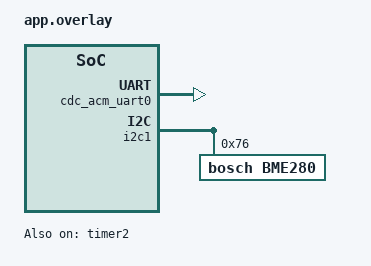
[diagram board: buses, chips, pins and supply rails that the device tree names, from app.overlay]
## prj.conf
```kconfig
#
# Copyright (c) 2022 Nordic Semiconductor ASA
#
# SPDX-License-Identifier: LicenseRef-Nordic-5-Clause
#

# Debug configuration


CONFIG_ZIGBEE_CHANNEL=11

# Logging
CONFIG_LOG=y
CONFIG_SERIAL=y
CONFIG_CONSOLE=y
CONFIG_UART_CONSOLE=y
CONFIG_UART_LINE_CTRL=y
#CONFIG_ZIGBEE_WEATHER_STATION_LOG_LEVEL_INF=y

# USB
CONFIG_USB_DEVICE_INITIALIZE_AT_BOOT=n
CONFIG_USB_DEVICE_PRODUCT="Dongle: Zigbee Weather Station"
CONFIG_USB_DEVICE_PID=0x0004
#CONFIG_USB_CDC_ACM_LOG_LEVEL_OFF=y
CONFIG_USB_DEVICE_STACK=y
# CONFIG_USB_CDC_ACM=y

# Sensors
CONFIG_I2C=y
CONFIG_SENSOR=y
CONFIG_BME280=y

# Development Kit LED and Buttons library
CONFIG_DK_LIBRARY=y

# Zigbee
CONFIG_ZIGBEE=y
CONFIG_ZIGBEE_APP_UTILS=y
CONFIG_ZIGBEE_ROLE_END_DEVICE=y

# Enable crypto for zigbee
CONFIG_CRYPTO=y
CONFIG_CRYPTO_NRF_ECB=y
CONFIG_CRYPTO_INIT_PRIORITY=80

# Use software cryptography on nRF5340
# CONFIG_ZIGBEE_USE_SOFTWARE_AES=n

# Enable API for powering down unused RAM parts
CONFIG_RAM_POWER_DOWN_LIBRARY=y

# Networking
CONFIG_NET_IPV6=n
CONFIG_NET_IP_ADDR_CHECK=n
CONFIG_NET_UDP=n

# Troubleshooting
CONFIG_ZBOSS_HALT_ON_ASSERT=y
CONFIG_RESET_ON_FATAL_ERROR=n

# CONFIG_LOG_BACKEND_UART=y
# This example requires more workqueue stack
CONFIG_SYSTEM_WORKQUEUE_STACK_SIZE=2048
#CONFIG_HEAP_MEM_POOL_SIZE=2048
#CONFIG_MAIN_THREAD_PRIORITY=7
#CONFIG_DEBUG_OPTIMIZATIONS=n
#CONFIG_DEBUG_THREAD_INFO=n

# CONFIG_ZIGBEE_UART_SUPPORTS_FLOW_CONTROL=y
# CONFIG_ZIGBEE_HAVE_SERIAL=y
# CONFIG_ZIGBEE_HAVE_ASYNC_SERIAL=y
# CONFIG_ZIGBEE_UART_RX_BUF_LEN=256
# CONFIG_ZIGBEE_UART_TX_TIMEOUT=1000
# CONFIG_ZIGBEE_UART_RX_TIMEOUT=1000
# CONFIG_NCS_SAMPLES_DEFAULTS=y
```

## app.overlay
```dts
/*
 * Copyright (c) 2022 Nordic Semiconductor ASA
 *
 * SPDX-License-Identifier: LicenseRef-Nordic-5-Clause
 */

/ {
	chosen {
		ncs,zigbee-timer = &timer2;
		zephyr,console = &cdc_acm_uart0; // &uart0;
		// ncs,zigbee-uart = &cdc_acm_uart0;
		zephyr,entropy = &rng;
	};
};

&zephyr_udc0 {
	cdc_acm_uart0: cdc_acm_uart0 {
		compatible = "zephyr,cdc-acm-uart";
	};
};

&pinctrl {
	uart0_default: uart0_default {
		group1 {
			psels = <NRF_PSEL(UART_TX, 0, 13)>,
				<NRF_PSEL(UART_RTS, 0, 17)>;
		};
		group2 {
			psels = <NRF_PSEL(UART_RX, 0, 15)>,
				<NRF_PSEL(UART_CTS, 0, 22)>;
			bias-pull-up;
		};
	};

	uart0_sleep: uart0_sleep {
		group1 {
			psels = <NRF_PSEL(UART_TX, 0, 13)>,
				<NRF_PSEL(UART_RX, 0, 15)>,
				<NRF_PSEL(UART_RTS, 0, 17)>,
				<NRF_PSEL(UART_CTS, 0, 22)>;
			low-power-enable;
		};
	};


	i2c1_default: i2c1_default {
		group1 {
			psels = <NRF_PSEL(TWIM_SDA, 0, 29)>,
				<NRF_PSEL(TWIM_SCL, 0, 31)>;
		};
	};

	i2c1_sleep: i2c1_sleep {
		group1 {
			psels = <NRF_PSEL(TWIM_SDA, 0, 29)>,
				<NRF_PSEL(TWIM_SCL, 0, 31)>;
			low-power-enable;
		};
	};
};

&i2c1 {
	status = "okay";

	bme280@76 {
		compatible = "bosch,bme280";
		reg = <0x76>;
		status = "okay";
	};
};

&timer2 {
	status = "okay";
};

/* Disable unused peripherals to reduce power consumption */
&pwm0 {
	status = "disabled";
};
&pwm1 {
	status = "disabled";
};
```

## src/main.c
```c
/*
 * Copyright (c) 2022 Nordic Semiconductor ASA
 *
 * SPDX-License-Identifier: LicenseRef-Nordic-5-Clause
 */

#include <zephyr/device.h>
#include <dk_buttons_and_leds.h>
#include <zephyr/drivers/uart.h>
#include <zephyr/logging/log.h>
#include <ram_pwrdn.h>
#include <zb_nrf_platform.h>
#include <zboss_api.h>
#include <zboss_api_addons.h>
#include <zephyr/kernel.h>
#include <zigbee/zigbee_app_utils.h>
#include <zigbee/zigbee_error_handler.h>

#ifdef CONFIG_USB_DEVICE_STACK
#include <zephyr/usb/usb_device.h>
#include <zephyr/usb/usbd.h>
#include <zephyr/sys/printk.h>
#endif /* CONFIG_USB_DEVICE_STACK */

#include "weather_station.h"

/* Delay for console initialization */
#define WAIT_FOR_CONSOLE_MSEC 100
#define WAIT_FOR_CONSOLE_DEADLINE_MSEC 500

/* Weather check period */
#define WEATHER_CHECK_PERIOD_MSEC (1000 * CONFIG_WEATHER_CHECK_PERIOD_SECONDS)

/* Delay for first weather check */
#define WEATHER_CHECK_INITIAL_DELAY_MSEC (1000 * CONFIG_FIRST_WEATHER_CHECK_DELAY_SECONDS)

/* Time of LED on state while blinking for identify mode */
#define IDENTIFY_LED_BLINK_TIME_MSEC 500

#define LED_POWER DK_LED1
/* In Thingy53 each LED is a RGB component of a single LED */
#define LED_RED DK_LED2
#define LED_GREEN DK_LED3
#define LED_BLUE DK_LED4

/* LED indicating that device successfully joined Zigbee network */
#define ZIGBEE_NETWORK_STATE_LED LED_BLUE

/* LED used for device identification */
#define IDENTIFY_LED LED_RED

/* Button used to enter the Identify mode */
#define IDENTIFY_MODE_BUTTON DK_BTN1_MSK

/* Button to start Factory Reset */
#define FACTORY_RESET_BUTTON IDENTIFY_MODE_BUTTON

BUILD_ASSERT(DT_NODE_HAS_COMPAT(DT_CHOSEN(zephyr_console),
				zephyr_cdc_acm_uart),
	     "Console device is not ACM CDC UART device");
LOG_MODULE_REGISTER(app, LOG_LEVEL_DBG);// CONFIG_ZIGBEE_WEATHER_STATION_LOG_LEVEL);

/* Stores all cluster-related attributes */
static struct zb_device_ctx dev_ctx;

/* Attributes setup */
ZB_ZCL_DECLARE_BASIC_ATTRIB_LIST_EXT(
	basic_attr_list,
	&dev_ctx.basic_attr.zcl_version,
	&dev_ctx.basic_attr.app_version,
	&dev_ctx.basic_attr.stack_version,
	&dev_ctx.basic_attr.hw_version,
	dev_ctx.basic_attr.mf_name,
	dev_ctx.basic_attr.model_id,
	dev_ctx.basic_attr.date_code,
	&dev_ctx.basic_attr.power_source,
	dev_ctx.basic_attr.location_id,
	&dev_ctx.basic_attr.ph_env,
	dev_ctx.basic_attr.sw_ver);

/* Declare attribute list for Identify cluster (client). */
ZB_ZCL_DECLARE_IDENTIFY_CLIENT_ATTRIB_LIST(
	identify_client_attr_list);

/* Declare attribute list for Identify cluster (server). */
ZB_ZCL_DECLARE_IDENTIFY_SERVER_ATTRIB_LIST(
	identify_server_attr_list,
	&dev_ctx.identify_attr.identify_time);

ZB_ZCL_DECLARE_TEMP_MEASUREMENT_ATTRIB_LIST(
	temperature_measurement_attr_list,
	&dev_ctx.temp_attrs.measure_value,
	&dev_ctx.temp_attrs.min_measure_value,
	&dev_ctx.temp_attrs.max_measure_value,
	&dev_ctx.temp_attrs.tolerance
	);

ZB_ZCL_DECLARE_PRESSURE_MEASUREMENT_ATTRIB_LIST(
	pressure_measurement_attr_list,
	&dev_ctx.pres_attrs.measure_value,
	&dev_ctx.pres_attrs.min_measure_value,
	&dev_ctx.pres_attrs.max_measure_value,
	&dev_ctx.pres_attrs.tolerance
	);

ZB_ZCL_DECLARE_REL_HUMIDITY_MEASUREMENT_ATTRIB_LIST(
	humidity_measurement_attr_list,
	&dev_ctx.humidity_attrs.measure_value,
	&dev_ctx.humidity_attrs.min_measure_value,
	&dev_ctx.humidity_attrs.max_measure_value
	);

/* On/Off cluster attributes additions data */
ZB_ZCL_DECLARE_ON_OFF_ATTRIB_LIST(
	on_off_attr_list,
	&dev_ctx.on_off_attr.on_off);

/* Clusters setup */
ZB_HA_DECLARE_WEATHER_STATION_CLUSTER_LIST(
	weather_station_cluster_list,
	basic_attr_list,
	identify_client_attr_list,
	identify_server_attr_list,
	temperature_measurement_attr_list,
	pressure_measurement_attr_list,
	humidity_measurement_attr_list,
	on_off_attr_list);

/* Endpoint setup (single) */
ZB_HA_DECLARE_WEATHER_STATION_EP(
	weather_station_ep,
	WEATHER_STATION_ENDPOINT_NB,
	weather_station_cluster_list);

/* Device context */
ZBOSS_DECLARE_DEVICE_CTX_1_EP(
	weather_station_ctx,
	weather_station_ep);


/* Manufacturer name (32 bytes). */
#define BULB_INIT_BASIC_MANUF_NAME      "FFenix113"

/* Model number assigned by manufacturer (32-bytes long string). */
#define BULB_INIT_BASIC_MODEL_ID        "dongle"

/* First 8 bytes specify the date of manufacturer of the device
 * in ISO 8601 format (YYYYMMDD). The rest (8 bytes) are manufacturer specific.
 */
#define BULB_INIT_BASIC_DATE_CODE       "20200329"

/* Describes the physical location of the device (16 bytes).
 * May be modified during commissioning process.
 */
#define BULB_INIT_BASIC_LOCATION_DESC   ""
/* Describes the type of physical environment.
 * For possible values see section 3.2.2.2.10 of ZCL specification.
 */
#define BULB_INIT_BASIC_PH_ENV          ZB_ZCL_BASIC_ENV_UNSPECIFIED

static void mandatory_clusters_attr_init(void)
{
	/* Basic cluster attributes */
	dev_ctx.basic_attr.zcl_version = ZB_ZCL_VERSION;
	dev_ctx.basic_attr.power_source = ZB_ZCL_BASIC_POWER_SOURCE_BATTERY;
	// Extended attributes
	dev_ctx.basic_attr.app_version = 01;
	dev_ctx.basic_attr.stack_version = 10;
	dev_ctx.basic_attr.hw_version = 11;

	/* Use ZB_ZCL_SET_STRING_VAL to set strings, because the first byte
	 * should contain string length without trailing zero.
	 *
	 * For example "test" string will be encoded as:
	 *   [(0x4), 't', 'e', 's', 't']
	 */
	ZB_ZCL_SET_STRING_VAL(
		dev_ctx.basic_attr.mf_name,
		BULB_INIT_BASIC_MANUF_NAME,
		ZB_ZCL_STRING_CONST_SIZE(BULB_INIT_BASIC_MANUF_NAME));

	ZB_ZCL_SET_STRING_VAL(
		dev_ctx.basic_attr.model_id,
		BULB_INIT_BASIC_MODEL_ID,
		ZB_ZCL_STRING_CONST_SIZE(BULB_INIT_BASIC_MODEL_ID));

	ZB_ZCL_SET_STRING_VAL(
		dev_ctx.basic_attr.date_code,
		BULB_INIT_BASIC_DATE_CODE,
		ZB_ZCL_STRING_CONST_SIZE(BULB_INIT_BASIC_DATE_CODE));

	ZB_ZCL_SET_STRING_VAL(
		dev_ctx.basic_attr.location_id,
		BULB_INIT_BASIC_LOCATION_DESC,
		ZB_ZCL_STRING_CONST_SIZE(BULB_INIT_BASIC_LOCATION_DESC));

	dev_ctx.basic_attr.ph_env = BULB_INIT_BASIC_PH_ENV;

	/* Identify cluster attributes data. */
	dev_ctx.identify_attr.identify_time =
		ZB_ZCL_IDENTIFY_IDENTIFY_TIME_DEFAULT_VALUE;

	/* Identify cluster attributes */
	dev_ctx.identify_attr.identify_time = ZB_ZCL_IDENTIFY_IDENTIFY_TIME_DEFAULT_VALUE;
}

static void measurements_clusters_attr_init(void)
{
	/* Temperature */
	dev_ctx.temp_attrs.measure_value = ZB_ZCL_ATTR_TEMP_MEASUREMENT_VALUE_UNKNOWN;
	dev_ctx.temp_attrs.min_measure_value = WEATHER_STATION_ATTR_TEMP_MIN;
	dev_ctx.temp_attrs.max_measure_value = WEATHER_STATION_ATTR_TEMP_MAX;
	dev_ctx.temp_attrs.tolerance = WEATHER_STATION_ATTR_TEMP_TOLERANCE;

	/* Pressure */
	dev_ctx.pres_attrs.measure_value = ZB_ZCL_ATTR_PRESSURE_MEASUREMENT_VALUE_UNKNOWN;
	dev_ctx.pres_attrs.min_measure_value = WEATHER_STATION_ATTR_PRESSURE_MIN;
	dev_ctx.pres_attrs.max_measure_value = WEATHER_STATION_ATTR_PRESSURE_MAX;
	dev_ctx.pres_attrs.tolerance = WEATHER_STATION_ATTR_PRESSURE_TOLERANCE;

	/* Humidity */
	dev_ctx.humidity_attrs.measure_value = ZB_ZCL_ATTR_REL_HUMIDITY_MEASUREMENT_VALUE_UNKNOWN;
	dev_ctx.humidity_attrs.min_measure_value = WEATHER_STATION_ATTR_HUMIDITY_MIN;
	dev_ctx.humidity_attrs.max_measure_value = WEATHER_STATION_ATTR_HUMIDITY_MAX;
	/* Humidity measurements tolerance is not supported at the moment */
}

static void toggle_identify_led(zb_bufid_t bufid)
{
	static bool led_on;

	led_on = !led_on;
	dk_set_led(IDENTIFY_LED, led_on);
	zb_ret_t err = ZB_SCHEDULE_APP_ALARM(toggle_identify_led,
					     bufid,
					     ZB_MILLISECONDS_TO_BEACON_INTERVAL(
						     IDENTIFY_LED_BLINK_TIME_MSEC));
	if (err) {
		LOG_ERR("Failed to schedule app alarm: %d", err);
	}
}

static void start_identifying(zb_bufid_t bufid)
{
	ZVUNUSED(bufid);

	if (ZB_JOINED()) {
		/*
		 * Check if endpoint is in identifying mode,
		 * if not put desired endpoint in identifying mode.
		 */
		if (dev_ctx.identify_attr.identify_time ==
		    ZB_ZCL_IDENTIFY_IDENTIFY_TIME_DEFAULT_VALUE) {

			zb_ret_t zb_err_code = zb_bdb_finding_binding_target(
				WEATHER_STATION_ENDPOINT_NB);

			if (zb_err_code == RET_OK) {
				dk_set_led_off(LED_POWER);
				dev_ctx.on_off_attr.on_off = 1;
				LOG_INF("Manually enter identify mode");
			} else if (zb_err_code == RET_INVALID_STATE) {
				LOG_WRN("RET_INVALID_STATE - Cannot enter identify mode");
			} else {
				ZB_ERROR_CHECK(zb_err_code);
			}
		} else {
			dk_set_led_on(LED_POWER);
			dev_ctx.on_off_attr.on_off = 0;
			LOG_INF("Manually cancel identify mode");
			zb_bdb_finding_binding_target_cancel();
		}
	} else {
		LOG_WRN("Device not in a network - cannot identify itself");
	}
}

static void identify_callback(zb_bufid_t bufid)
{
	zb_ret_t err = RET_OK;

	if (bufid) {
		/* Schedule a self-scheduling function that will toggle the LED */
		err = ZB_SCHEDULE_APP_CALLBACK(toggle_identify_led, bufid);
		if (err) {
			LOG_ERR("Failed to schedule app callback: %d", err);
		} else {
			LOG_INF("Enter identify mode");
		}
	} else {
		/* Cancel the toggling function alarm and turn off LED */
		err = ZB_SCHEDULE_APP_ALARM_CANCEL(toggle_identify_led,
						   ZB_ALARM_ANY_PARAM);
		if (err) {
			LOG_ERR("Failed to schedule app alarm cancel: %d", err);
		} else {
			dk_set_led_off(IDENTIFY_LED);
			LOG_INF("Cancel identify mode");
		}
	}
}

static void button_changed(uint32_t button_state, uint32_t has_changed)
{
	if (IDENTIFY_MODE_BUTTON & has_changed) {
		if (IDENTIFY_MODE_BUTTON & button_state) {
			/* Button changed its state to pressed */
		} else {
			/* Button changed its state to released */
			if (was_factory_reset_done()) {
				/* The long press was for Factory Reset */
				LOG_DBG("After Factory Reset - ignore button release");
			} else   {
				/* Button released before Factory Reset */

				/* Start identification mode */
				zb_ret_t err = ZB_SCHEDULE_APP_CALLBACK(start_identifying, 0);

				if (err) {
					LOG_ERR("Failed to schedule app callback: %d", err);
				}

				/* Inform default signal handler about user input at the device */
				user_input_indicate();
			}
		}
	}

	check_factory_reset_button(button_state, has_changed);
}

static void gpio_init(void)
{
	int err = dk_buttons_init(button_changed);

	if (err) {
		LOG_ERR("Cannot init buttons (err: %d)", err);
	}

	err = dk_leds_init();
	if (err) {
		LOG_ERR("Cannot init LEDs (err: %d)", err);
	}
}

#ifdef CONFIG_USB_DEVICE_STACK
static void wait_for_console(void)
{
	const struct device *console = DEVICE_DT_GET(DT_CHOSEN(zephyr_console));
	uint32_t dtr = 0;
	uint32_t time = 0;

	/* Enable the USB subsystem and associated HW */
	if (usb_enable(NULL)) {
		LOG_ERR("Failed to enable USB");
	} else {
		/* Wait for DTR flag or deadline (e.g. when USB is not connected) */
		while (!dtr && time < WAIT_FOR_CONSOLE_DEADLINE_MSEC) {
			uart_line_ctrl_get(console, UART_LINE_CTRL_DTR, &dtr);
			/* Give CPU resources to low priority threads */
			k_sleep(K_MSEC(WAIT_FOR_CONSOLE_MSEC));
			time += WAIT_FOR_CONSOLE_MSEC;
		}
		// while (!dtr) {
		// 	uart_line_ctrl_get(console, UART_LINE_CTRL_DTR, &dtr);
		// 	/* Give CPU resources to low priority threads. */
		// 	k_sleep(K_MSEC(500));
		// }
	}
}
#endif /* CONFIG_USB_DEVICE_STACK */

static void check_weather(zb_bufid_t bufid)
{
	ZVUNUSED(bufid);

	int err = weather_station_check_weather();

	if (err) {
		LOG_ERR("Failed to check weather: %d", err);
	} else {
		err = weather_station_update_temperature();
		if (err) {
			LOG_ERR("Failed to update temperature: %d", err);
		}

		err = weather_station_update_pressure();
		if (err) {
			LOG_ERR("Failed to update pressure: %d", err);
		}

		err = weather_station_update_humidity();
		if (err) {
			LOG_ERR("Failed to update humidity: %d", err);
		}
	}

	zb_ret_t zb_err = ZB_SCHEDULE_APP_ALARM(check_weather,
						0,
						ZB_MILLISECONDS_TO_BEACON_INTERVAL(
							WEATHER_CHECK_PERIOD_MSEC));
	if (zb_err) {
		LOG_ERR("Failed to schedule app alarm: %d", zb_err);
	}
}

/**@brief Callback function for handling ZCL commands.
 *
 * @param[in]   bufid   Reference to Zigbee stack buffer
 *                      used to pass received data.
 */
static void zcl_device_cb(zb_bufid_t bufid)
{
	zb_uint8_t cluster_id;
	zb_uint8_t attr_id;
	zb_zcl_device_callback_param_t  *device_cb_param =
		ZB_BUF_GET_PARAM(bufid, zb_zcl_device_callback_param_t);

	LOG_INF("%s id %hd", __func__, device_cb_param->device_cb_id);

	/* Set default response value. */
	device_cb_param->status = RET_OK;

	switch (device_cb_param->device_cb_id) {
	case ZB_ZCL_SET_ATTR_VALUE_CB_ID:
		cluster_id = device_cb_param->cb_param.
			     set_attr_value_param.cluster_id;
		attr_id = device_cb_param->cb_param.
			  set_attr_value_param.attr_id;

		if (cluster_id == ZB_ZCL_CLUSTER_ID_ON_OFF) {
			uint8_t value =
				device_cb_param->cb_param.set_attr_value_param
				.values.data8;

			LOG_INF("on/off attribute setting to %hd", value);
			if (attr_id == ZB_ZCL_ATTR_ON_OFF_ON_OFF_ID) {
				// on_off_set_value((zb_bool_t)value);
			}
		} else if (cluster_id == ZB_ZCL_CLUSTER_ID_LEVEL_CONTROL) {
		} else {
			/* Other clusters can be processed here */
			LOG_INF("Unhandled cluster attribute id: %d",
				cluster_id);
			device_cb_param->status = RET_NOT_IMPLEMENTED;
		}
		break;

	default:
		// if (zcl_scenes_cb(bufid) == ZB_FALSE) {
		// 	device_cb_param->status = RET_NOT_IMPLEMENTED;
		// }
		break;
	}

	LOG_INF("%s status: %hd", __func__, device_cb_param->status);
}

void zboss_signal_handler(zb_bufid_t bufid)
{
	zb_zdo_app_signal_hdr_t *signal_header = NULL;
	zb_zdo_app_signal_type_t signal = zb_get_app_signal(bufid, &signal_header);
	zb_ret_t err = RET_OK;

	/* Update network status LED but only for debug configuration */
	#ifdef CONFIG_LOG
	zigbee_led_status_update(bufid, ZIGBEE_NETWORK_STATE_LED);
	#endif /* CONFIG_LOG */

	/* Detect ZBOSS startup */
	switch (signal) {
	case ZB_ZDO_SIGNAL_SKIP_STARTUP:
		/* ZBOSS framework has started - schedule first weather check */
		err = ZB_SCHEDULE_APP_ALARM(check_weather,
					    0,
					    ZB_MILLISECONDS_TO_BEACON_INTERVAL(
						    WEATHER_CHECK_INITIAL_DELAY_MSEC));
		if (err) {
			LOG_ERR("Failed to schedule app alarm: %d", err);
		}
		break;
	default:
		break;
	}

	/* Let default signal handler process the signal*/
	ZB_ERROR_CHECK(zigbee_default_signal_handler(bufid));

	/*
	 * All callbacks should either reuse or free passed buffers.
	 * If bufid == 0, the buffer is invalid (not passed).
	 */
	if (bufid) {
		zb_buf_free(bufid);
	}
}

int main(void)
{
	#ifdef CONFIG_USB_DEVICE_STACK
	wait_for_console();
	#endif /* CONFIG_USB_DEVICE_STACK */

	LOG_INF("App init");

	register_factory_reset_button(FACTORY_RESET_BUTTON);
	gpio_init();
	weather_station_init();

	/* Register device context (endpoint) */
	ZB_AF_REGISTER_DEVICE_CTX(&weather_station_ctx);

	/* Register callback for handling ZCL commands. */
	ZB_ZCL_REGISTER_DEVICE_CB(zcl_device_cb);

	/* Init Basic and Identify attributes */
	mandatory_clusters_attr_init();

	/* Init measurements-related attributes */
	measurements_clusters_attr_init();

	/* Register callback to identify notifications */
	ZB_AF_SET_IDENTIFY_NOTIFICATION_HANDLER(WEATHER_STATION_ENDPOINT_NB, identify_callback);

	/* Enable Sleepy End Device behavior */
	zb_set_rx_on_when_idle(ZB_FALSE);
	if (IS_ENABLED(CONFIG_RAM_POWER_DOWN_LIBRARY)) {
		power_down_unused_ram();
	}

	/* Start Zigbee stack */
	zigbee_enable();

	dk_set_led_on(LED_POWER);

	return 0;
}
```

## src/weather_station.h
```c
/*
 * Copyright (c) 2022 Nordic Semiconductor ASA
 *
 * SPDX-License-Identifier: LicenseRef-Nordic-5-Clause
 */

#ifndef WEATHER_STATION_H
#define WEATHER_STATION_H

#include <zboss_api.h>
#include <zboss_api_addons.h>
#include <zcl/zb_zcl_temp_measurement_addons.h>

#include "sensor.h"

/* Zigbee Cluster Library 4.4.2.2.1.1: MeasuredValue = 100x temperature in degrees Celsius */
#define ZCL_TEMPERATURE_MEASUREMENT_MEASURED_VALUE_MULTIPLIER 100
/* Zigbee Cluster Library 4.5.2.2.1.1: MeasuredValue = 10x pressure in kPa */
#define ZCL_PRESSURE_MEASUREMENT_MEASURED_VALUE_MULTIPLIER 10
/* Zigbee Cluster Library 4.7.2.1.1: MeasuredValue = 100x water content in % */
#define ZCL_HUMIDITY_MEASUREMENT_MEASURED_VALUE_MULTIPLIER 100

/* Measurements ranges scaled for attribute values */
#define WEATHER_STATION_ATTR_TEMP_MIN (	  \
		SENSOR_TEMP_CELSIUS_MIN * \
		ZCL_TEMPERATURE_MEASUREMENT_MEASURED_VALUE_MULTIPLIER)
#define WEATHER_STATION_ATTR_TEMP_MAX (	  \
		SENSOR_TEMP_CELSIUS_MAX * \
		ZCL_TEMPERATURE_MEASUREMENT_MEASURED_VALUE_MULTIPLIER)
#define WEATHER_STATION_ATTR_TEMP_TOLERANCE (	\
		SENSOR_TEMP_CELSIUS_TOLERANCE *	\
		ZCL_TEMPERATURE_MEASUREMENT_MEASURED_VALUE_MULTIPLIER)
#define WEATHER_STATION_ATTR_PRESSURE_MIN ( \
		SENSOR_PRESSURE_KPA_MIN *   \
		ZCL_PRESSURE_MEASUREMENT_MEASURED_VALUE_MULTIPLIER)
#define WEATHER_STATION_ATTR_PRESSURE_MAX ( \
		SENSOR_PRESSURE_KPA_MAX *   \
		ZCL_PRESSURE_MEASUREMENT_MEASURED_VALUE_MULTIPLIER)
#define WEATHER_STATION_ATTR_PRESSURE_TOLERANCE ( \
		SENSOR_PRESSURE_KPA_TOLERANCE *	  \
		ZCL_PRESSURE_MEASUREMENT_MEASURED_VALUE_MULTIPLIER)
#define WEATHER_STATION_ATTR_HUMIDITY_MIN (   \
		SENSOR_HUMIDITY_PERCENT_MIN * \
		ZCL_HUMIDITY_MEASUREMENT_MEASURED_VALUE_MULTIPLIER)
#define WEATHER_STATION_ATTR_HUMIDITY_MAX (   \
		SENSOR_HUMIDITY_PERCENT_MAX * \
		ZCL_HUMIDITY_MEASUREMENT_MEASURED_VALUE_MULTIPLIER)
#define WEATHER_STATION_ATTR_HUMIDITY_TOLERANCE (   \
		SENSOR_HUMIDITY_PERCENT_TOLERANCE * \
		ZCL_HUMIDITY_MEASUREMENT_MEASURED_VALUE_MULTIPLIER)

/* Number chosen for the single endpoint provided by weather station */
#define WEATHER_STATION_ENDPOINT_NB 42

/* Temperature sensor device version */
#define ZB_HA_DEVICE_VER_TEMPERATURE_SENSOR     0
/* Basic, identify, temperature, pressure, humidity, on/off */
#define ZB_HA_WEATHER_STATION_IN_CLUSTER_NUM    6
/* Identify */
#define ZB_HA_WEATHER_STATION_OUT_CLUSTER_NUM   1

/* Temperature, pressure, humidity, on/off */
#define ZB_HA_WEATHER_STATION_REPORT_ATTR_COUNT 4

#define MANUFACTURER_CODE ZB_ZCL_MANUF_CODE_INVALID

#define ZB_HA_DECLARE_WEATHER_STATION_CLUSTER_LIST(						\
		cluster_list_name,								\
		basic_attr_list,								\
		identify_client_attr_list,							\
		identify_server_attr_list,							\
		temperature_measurement_attr_list,						\
		pressure_measurement_attr_list,							\
		humidity_measurement_attr_list,							\
		on_off_attr_list							\
		)										\
	zb_zcl_cluster_desc_t cluster_list_name[] =						\
	{											\
		ZB_ZCL_CLUSTER_DESC(								\
			ZB_ZCL_CLUSTER_ID_BASIC,						\
			ZB_ZCL_ARRAY_SIZE(basic_attr_list, zb_zcl_attr_t),			\
			(basic_attr_list),							\
			ZB_ZCL_CLUSTER_SERVER_ROLE,						\
			MANUFACTURER_CODE						\
			),									\
		ZB_ZCL_CLUSTER_DESC(								\
			ZB_ZCL_CLUSTER_ID_IDENTIFY,						\
			ZB_ZCL_ARRAY_SIZE(identify_server_attr_list, zb_zcl_attr_t),		\
			(identify_server_attr_list),						\
			ZB_ZCL_CLUSTER_SERVER_ROLE,						\
			MANUFACTURER_CODE						\
			),									\
		ZB_ZCL_CLUSTER_DESC(								\
			ZB_ZCL_CLUSTER_ID_TEMP_MEASUREMENT,					\
			ZB_ZCL_ARRAY_SIZE(temperature_measurement_attr_list, zb_zcl_attr_t),	\
			(temperature_measurement_attr_list),					\
			ZB_ZCL_CLUSTER_SERVER_ROLE,						\
			MANUFACTURER_CODE						\
			),									\
		ZB_ZCL_CLUSTER_DESC(								\
			ZB_ZCL_CLUSTER_ID_PRESSURE_MEASUREMENT,					\
			ZB_ZCL_ARRAY_SIZE(pressure_measurement_attr_list, zb_zcl_attr_t),	\
			(pressure_measurement_attr_list),					\
			ZB_ZCL_CLUSTER_SERVER_ROLE,						\
			MANUFACTURER_CODE						\
			),									\
		ZB_ZCL_CLUSTER_DESC(								\
			ZB_ZCL_CLUSTER_ID_REL_HUMIDITY_MEASUREMENT,				\
			ZB_ZCL_ARRAY_SIZE(humidity_measurement_attr_list, zb_zcl_attr_t),	\
			(humidity_measurement_attr_list),					\
			ZB_ZCL_CLUSTER_SERVER_ROLE,						\
			MANUFACTURER_CODE						\
			),									\
		ZB_ZCL_CLUSTER_DESC(								\
			ZB_ZCL_CLUSTER_ID_ON_OFF,				\
			ZB_ZCL_ARRAY_SIZE(on_off_attr_list, zb_zcl_attr_t),	\
			(on_off_attr_list),					\
			ZB_ZCL_CLUSTER_SERVER_ROLE,						\
			MANUFACTURER_CODE						\
			),									\
		ZB_ZCL_CLUSTER_DESC(								\
			ZB_ZCL_CLUSTER_ID_IDENTIFY,						\
			ZB_ZCL_ARRAY_SIZE(identify_client_attr_list, zb_zcl_attr_t),		\
			(identify_client_attr_list),						\
			ZB_ZCL_CLUSTER_CLIENT_ROLE,						\
			MANUFACTURER_CODE						\
			),									\
	}

#define ZB_ZCL_DECLARE_WEATHER_STATION_DESC(						\
		ep_name,								\
		ep_id,									\
		in_clust_num,								\
		out_clust_num)								\
	ZB_DECLARE_SIMPLE_DESC(in_clust_num, out_clust_num);				\
	ZB_AF_SIMPLE_DESC_TYPE(in_clust_num, out_clust_num) simple_desc_##ep_name =	\
	{										\
		ep_id,									\
		ZB_AF_HA_PROFILE_ID,							\
		ZB_HA_TEMPERATURE_SENSOR_DEVICE_ID,					\
		ZB_HA_DEVICE_VER_TEMPERATURE_SENSOR,					\
		0,									\
		in_clust_num,								\
		out_clust_num,								\
		{									\
			ZB_ZCL_CLUSTER_ID_BASIC,					\
			ZB_ZCL_CLUSTER_ID_IDENTIFY,					\
			ZB_ZCL_CLUSTER_ID_TEMP_MEASUREMENT,				\
			ZB_ZCL_CLUSTER_ID_PRESSURE_MEASUREMENT,				\
			ZB_ZCL_CLUSTER_ID_REL_HUMIDITY_MEASUREMENT,			\
			ZB_ZCL_CLUSTER_ID_ON_OFF,							\
			ZB_ZCL_CLUSTER_ID_IDENTIFY,					\
		}									\
	}

#define ZB_HA_DECLARE_WEATHER_STATION_EP(ep_name, ep_id, cluster_list)				\
	ZB_ZCL_DECLARE_WEATHER_STATION_DESC(							\
		ep_name,									\
		ep_id,										\
		ZB_HA_WEATHER_STATION_IN_CLUSTER_NUM,						\
		ZB_HA_WEATHER_STATION_OUT_CLUSTER_NUM);						\
	ZBOSS_DEVICE_DECLARE_REPORTING_CTX(							\
		reporting_info##ep_name,							\
		ZB_HA_WEATHER_STATION_REPORT_ATTR_COUNT);					\
	ZB_AF_DECLARE_ENDPOINT_DESC(								\
		ep_name,									\
		ep_id,										\
		ZB_AF_HA_PROFILE_ID,								\
		0,										\
		NULL,										\
		ZB_ZCL_ARRAY_SIZE(cluster_list, zb_zcl_cluster_desc_t),				\
		cluster_list,									\
		(zb_af_simple_desc_1_1_t *)&simple_desc_##ep_name,				\
		ZB_HA_WEATHER_STATION_REPORT_ATTR_COUNT, reporting_info##ep_name, 0, NULL)

typedef struct {
	zb_int16_t measure_value;
	zb_int16_t min_measure_value;
	zb_int16_t max_measure_value;
	zb_uint16_t tolerance;
} zb_zcl_pressure_measurement_attrs_t;

typedef struct {
	zb_int16_t measure_value;
	zb_int16_t min_measure_value;
	zb_int16_t max_measure_value;
} zb_zcl_humidity_measurement_attrs_t;

struct zb_device_ctx {
	zb_zcl_basic_attrs_ext_t basic_attr;
	zb_zcl_identify_attrs_t identify_attr;
	zb_zcl_temp_measurement_attrs_t temp_attrs;
	zb_zcl_pressure_measurement_attrs_t pres_attrs;
	zb_zcl_humidity_measurement_attrs_t humidity_attrs;
	zb_zcl_on_off_attrs_t on_off_attr;
};

/**
 * @brief Initializes HW sensor used for performing measurements.
 *
 * @note Has to be called before other functions can be used.
 *
 * @return 0 if success, error code if failure.
 */
int weather_station_init(void);

/**
 * @brief Updates internal measurements performed by sensor.
 *
 * @note It has to be called each time a fresh measurements are required.
 *	 It does not change any ZCL attributes.
 *
 * @return 0 if success, error code if failure.
 */
int weather_station_check_weather(void);

/**
 * @brief Updates ZCL temperature attribute using value obtained during last weather check.
 *
 * @return 0 if success, error code if failure.
 */
int weather_station_update_temperature(void);

/**
 * @brief Updates ZCL pressure attribute using value obtained during last weather check.
 *
 * @return 0 if success, error code if failure.
 */
int weather_station_update_pressure(void);

/**
 * @brief Updates ZCL relative humidity attribute using value obtained during last weather check.
 *
 * @return 0 if success, error code if failure.
 */
int weather_station_update_humidity(void);

#endif /* WEATHER_STATION_H */
```
